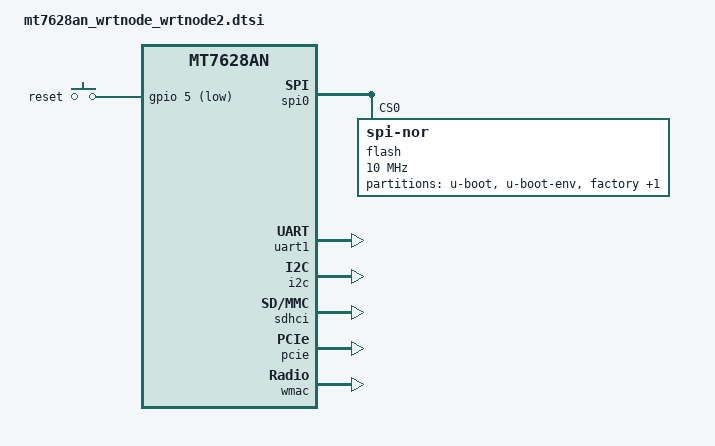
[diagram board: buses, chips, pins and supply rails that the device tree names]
#include "mt7628an.dtsi"

#include <dt-bindings/gpio/gpio.h>
#include <dt-bindings/input/input.h>

/ {
	compatible = "wrtnode,wrtnode2", "mediatek,mt7628an-soc";

	chosen {
		bootargs = "console=ttyS0,115200";
	};

	keys {
		compatible = "gpio-keys";

		reset {
			label = "reset";
			gpios = <&gpio 5 GPIO_ACTIVE_LOW>;
			linux,code = <KEY_RESTART>;
		};
	};
};

&spi0 {
	status = "okay";

	flash@0 {
		compatible = "jedec,spi-nor";
		reg = <0>;
		spi-max-frequency = <10000000>;
		broken-flash-reset;

		partitions {
			compatible = "fixed-partitions";
			#address-cells = <1>;
			#size-cells = <1>;

			partition@0 {
				label = "u-boot";
				reg = <0x0 0x30000>;
				read-only;
			};

			partition@30000 {
				label = "u-boot-env";
				reg = <0x30000 0x10000>;
				read-only;
			};

			factory: partition@40000 {
				label = "factory";
				reg = <0x40000 0x10000>;
				read-only;
			};

			partition@50000 {
				compatible = "denx,uimage";
				label = "firmware";
				reg = <0x50000 0x1fb0000>;
			};
		};
	};
};

&uart1 {
	status = "okay";
};

&i2c {
	status = "okay";
};

&ethernet {
	nvmem-cells = <&macaddr_factory_4>;
	nvmem-cell-names = "mac-address";
};

&esw {
	mediatek,portmap = <0x3e>;
};

&sdhci {
	status = "okay";
};

&pcie {
	status = "okay";
};

&wmac {
	status = "okay";

	mediatek,mtd-eeprom = <&factory 0x0>;
};

&factory {
	compatible = "nvmem-cells";
	#address-cells = <1>;
	#size-cells = <1>;

	macaddr_factory_4: macaddr@4 {
		reg = <0x4 0x6>;
	};
};
